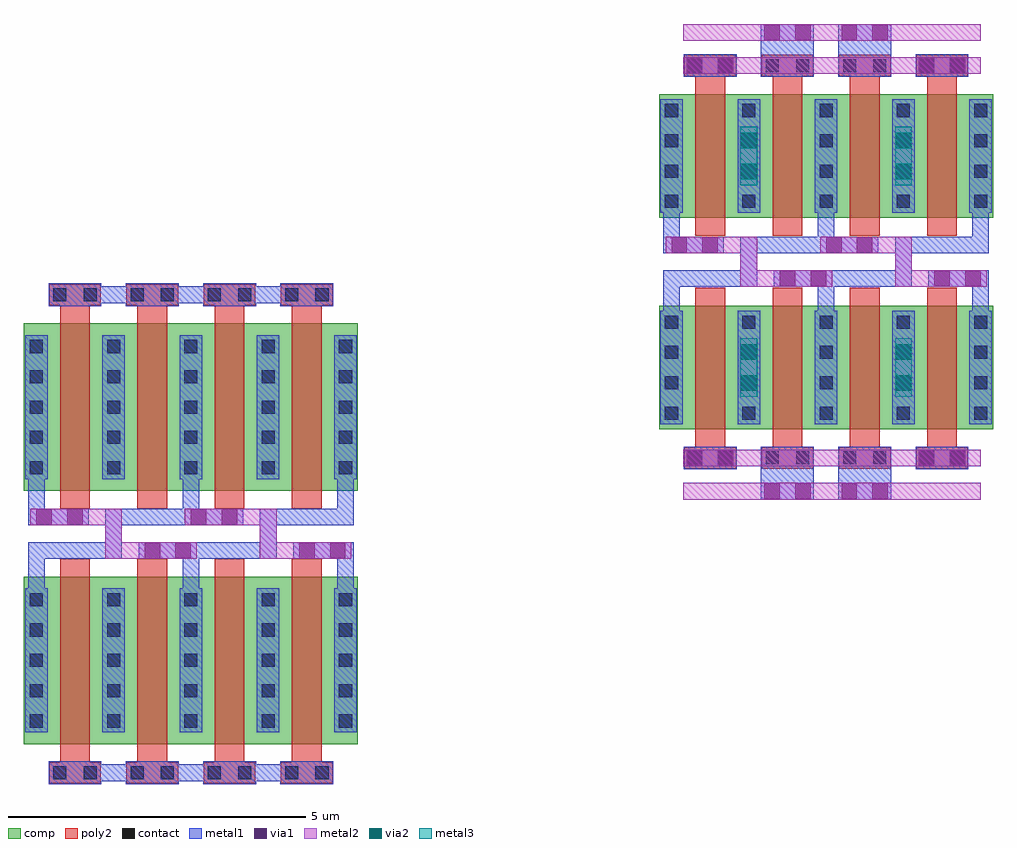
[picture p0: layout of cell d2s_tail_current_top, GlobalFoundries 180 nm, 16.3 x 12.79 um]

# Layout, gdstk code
import gdstk
lib = gdstk.Library(unit=1e-6, precision=5e-09)
def R(c, l, rs):  # rectangles x0, y0, x1, y1
    for r in rs: c.add(gdstk.rectangle(r[:2], r[2:], *l))
def A(c, l, x, y, w, h, nx, ny, dx, dy):  # array of equal rectangles
    R(c, l, [(x+i*dx, y+j*dy, x+i*dx+w, y+j*dy+h) for i in range(nx) for j in range(ny)])
comp = (22, 0)
poly2 = (30, 0)
contact = (33, 0)
metal1 = (34, 0)
via1 = (35, 0)
metal2 = (36, 0)
via2 = (38, 0)
metal3 = (42, 0)

d2s_tail_current_ncell_1 = lib.new_cell('d2s_tail_current_ncell_1$1')
R(d2s_tail_current_ncell_1, comp, [(0,0.3,0.42,3.12), (0.42,0.3,1.3,3.12), (1.3,0.3,1.72,3.12)])
R(d2s_tail_current_ncell_1, poly2, [(0.61,0,1.11,3.42)])
A(d2s_tail_current_ncell_1, contact, 0.1, 0.58, 0.22, 0.22, 1, 5, 0, 0.51)
A(d2s_tail_current_ncell_1, contact, 1.4, 0.58, 0.22, 0.22, 1, 5, 0, 0.51)
R(d2s_tail_current_ncell_1, metal1, [(0.02,0.5,0.4,2.92), (1.32,0.5,1.7,2.92)])

d2s_tail_current_ncell_4 = lib.new_cell('d2s_tail_current_ncell_4')
A(d2s_tail_current_ncell_4, poly2, 0.425, 3.42, 0.87, 0.36, 4, 1, 1.3, 0)
R(d2s_tail_current_ncell_4, contact, [(0.495,3.49,0.715,3.71), (1.005,3.49,1.225,3.71), (1.795,3.49,2.015,3.71), (2.305,3.49,2.525,3.71), (3.095,3.49,3.315,3.71), (3.605,3.49,3.825,3.71), (4.395,3.49,4.615,3.71), (4.905,3.49,5.125,3.71)])
A(d2s_tail_current_ncell_4, metal1, 0.415, 3.41, 0.89, 0.38, 4, 1, 1.3, 0)
d2s_tail_current_ncell_4.add(gdstk.Reference(d2s_tail_current_ncell_1, (0,0)))
d2s_tail_current_ncell_4.add(gdstk.Reference(d2s_tail_current_ncell_1, (1.3,0)))
d2s_tail_current_ncell_4.add(gdstk.Reference(d2s_tail_current_ncell_1, (2.6,0)))
d2s_tail_current_ncell_4.add(gdstk.Reference(d2s_tail_current_ncell_1, (3.9,0)))

delay_stage_ncell_1_1_2 = lib.new_cell('delay_stage_ncell_1$1$2')
R(delay_stage_ncell_1_1_2, comp, [(0,0.3,0.42,2.38), (0.42,0.3,1.3,2.38), (1.3,0.3,1.72,2.38)])
R(delay_stage_ncell_1_1_2, poly2, [(0.61,0,1.11,2.68)])
A(delay_stage_ncell_1_1_2, contact, 0.1, 0.465, 0.22, 0.22, 1, 4, 0, 0.51)
A(delay_stage_ncell_1_1_2, contact, 1.4, 0.465, 0.22, 0.22, 1, 4, 0, 0.51)
R(delay_stage_ncell_1_1_2, metal1, [(0.02,0.385,0.4,2.295), (1.32,0.385,1.7,2.295)])

delay_stage_ncell_4_1 = lib.new_cell('delay_stage_ncell_4$1')
A(delay_stage_ncell_4_1, poly2, 0.425, 2.675, 0.87, 0.36, 4, 1, 1.3, 0)
R(delay_stage_ncell_4_1, contact, [(0.495,2.745,0.715,2.965), (1.005,2.745,1.225,2.965), (1.795,2.745,2.015,2.965), (2.305,2.745,2.525,2.965), (3.095,2.745,3.315,2.965), (3.605,2.745,3.825,2.965), (4.395,2.745,4.615,2.965), (4.905,2.745,5.125,2.965)])
A(delay_stage_ncell_4_1, metal1, 0.415, 2.665, 0.89, 0.38, 4, 1, 1.3, 0)
delay_stage_ncell_4_1.add(gdstk.Reference(delay_stage_ncell_1_1_2, (0,-0.005)))
delay_stage_ncell_4_1.add(gdstk.Reference(delay_stage_ncell_1_1_2, (1.3,-0.005)))
delay_stage_ncell_4_1.add(gdstk.Reference(delay_stage_ncell_1_1_2, (2.6,-0.005)))
delay_stage_ncell_4_1.add(gdstk.Reference(delay_stage_ncell_1_1_2, (3.9,-0.005)))

d2s_tail_current_top = lib.new_cell('d2s_tail_current_top')
R(d2s_tail_current_top, metal1, [(14.44,2.385,15.33,2.895), (15.74,2.385,16.63,2.895), (14.44,9.875,15.33,10.385), (15.74,9.875,16.63,10.385)])
R(d2s_tail_current_top, via1, [(4.07,1.4,4.33,1.66), (4.59,1.4,4.85,1.66), (6.67,1.4,6.93,1.66), (7.19,1.4,7.45,1.66), (2.25,1.96,2.51,2.22), (2.77,1.96,3.03,2.22), (4.85,1.96,5.11,2.22), (5.37,1.96,5.63,2.22), (14.495,2.395,14.755,2.655), (15.015,2.395,15.275,2.655), (15.795,2.395,16.055,2.655), (16.315,2.395,16.575,2.655), (13.195,2.955,13.455,3.215), (13.715,2.955,13.975,3.215), (17.095,2.955,17.355,3.215), (17.615,2.955,17.875,3.215), (14.105,4.215,14.365,4.475), (16.705,4.215,16.965,4.475), (14.105,4.735,14.365,4.995), (16.705,4.735,16.965,4.995), (14.755,5.975,15.015,6.235), (15.275,5.975,15.535,6.235), (17.355,5.975,17.615,6.235), (17.875,5.975,18.135,6.235), (12.935,6.535,13.195,6.795), (13.455,6.535,13.715,6.795), (15.535,6.535,15.795,6.795), (16.055,6.535,16.315,6.795), (14.105,7.775,14.365,8.035), (16.705,7.775,16.965,8.035), (14.105,8.295,14.365,8.555), (16.705,8.295,16.965,8.555), (13.195,9.555,13.455,9.815), (13.715,9.555,13.975,9.815), (17.095,9.555,17.355,9.815), (17.615,9.555,17.875,9.815), (14.495,10.115,14.755,10.375), (15.015,10.115,15.275,10.375), (15.795,10.115,16.055,10.375), (16.315,10.115,16.575,10.375)])
R(d2s_tail_current_top, via2, [(14.105,4.215,14.365,4.475), (16.705,4.215,16.965,4.475), (14.105,4.735,14.365,4.995), (16.705,4.735,16.965,4.995), (14.105,7.775,14.365,8.035), (16.705,7.775,16.965,8.035), (14.105,8.295,14.365,8.555), (16.705,8.295,16.965,8.555)])
d2s_tail_current_top.add(gdstk.FlexPath([(15.535,7.21),(15.535,6.805)], 0.28, ends="flush", simple_path=True, layer=34, datatype=0))  # metal1
d2s_tail_current_top.add(gdstk.FlexPath([(15.535,5.56),(15.535,5.965)], 0.28, ends="flush", simple_path=True, layer=34, datatype=0))  # metal1
d2s_tail_current_top.add(gdstk.FlexPath([(12.935,5.56),(12.935,5.965)], 0.28, ends="flush", simple_path=True, layer=34, datatype=0))  # metal1
d2s_tail_current_top.add(gdstk.FlexPath([(12.935,7.21),(12.935,6.805)], 0.28, ends="flush", simple_path=True, layer=34, datatype=0))  # metal1
d2s_tail_current_top.add(gdstk.FlexPath([(15.635,6.665),(14.235,6.665),(14.235,6.105),(12.795,6.105)], 0.28, ends="flush", simple_path=True, layer=34, datatype=0))  # metal1
d2s_tail_current_top.add(gdstk.FlexPath([(13.815,6.665),(12.795,6.665)], 0.28, ends="flush", simple_path=True, layer=34, datatype=0))  # metal1
d2s_tail_current_top.add(gdstk.FlexPath([(18.135,5.56),(18.135,5.965)], 0.28, ends="flush", simple_path=True, layer=34, datatype=0))  # metal1
d2s_tail_current_top.add(gdstk.FlexPath([(18.275,6.665),(16.835,6.665),(16.835,6.105),(15.435,6.105)], 0.28, ends="flush", simple_path=True, layer=34, datatype=0))  # metal1
d2s_tail_current_top.add(gdstk.FlexPath([(16.415,6.665),(15.435,6.665)], 0.28, ends="flush", simple_path=True, layer=34, datatype=0))  # metal1
d2s_tail_current_top.add(gdstk.FlexPath([(18.135,7.21),(18.135,6.805)], 0.28, ends="flush", simple_path=True, layer=34, datatype=0))  # metal1
d2s_tail_current_top.add(gdstk.FlexPath([(15.535,5.56),(15.535,5.965)], 0.28, ends="flush", simple_path=True, layer=34, datatype=0))  # metal1
d2s_tail_current_top.add(gdstk.FlexPath([(18.275,6.105),(17.255,6.105)], 0.28, ends="flush", simple_path=True, layer=34, datatype=0))  # metal1
d2s_tail_current_top.add(gdstk.FlexPath([(15.535,7.21),(15.535,6.805)], 0.28, ends="flush", simple_path=True, layer=34, datatype=0))  # metal1
d2s_tail_current_top.add(gdstk.FlexPath([(15.635,6.105),(14.655,6.105)], 0.28, ends="flush", simple_path=True, layer=34, datatype=0))  # metal1
d2s_tail_current_top.add(gdstk.FlexPath([(4.85,2.73),(4.85,2.23)], 0.28, ends="flush", simple_path=True, layer=34, datatype=0))  # metal1
d2s_tail_current_top.add(gdstk.FlexPath([(4.85,0.89),(4.85,1.39)], 0.28, ends="flush", simple_path=True, layer=34, datatype=0))  # metal1
d2s_tail_current_top.add(gdstk.FlexPath([(2.25,0.89),(2.25,1.39)], 0.28, ends="flush", simple_path=True, layer=34, datatype=0))  # metal1
d2s_tail_current_top.add(gdstk.FlexPath([(2.25,2.73),(2.25,2.23)], 0.28, ends="flush", simple_path=True, layer=34, datatype=0))  # metal1
d2s_tail_current_top.add(gdstk.FlexPath([(4.95,2.09),(3.55,2.09),(3.55,1.53),(2.11,1.53)], 0.28, ends="flush", simple_path=True, layer=34, datatype=0))  # metal1
d2s_tail_current_top.add(gdstk.FlexPath([(3.13,2.09),(2.11,2.09)], 0.28, ends="flush", simple_path=True, layer=34, datatype=0))  # metal1
d2s_tail_current_top.add(gdstk.FlexPath([(7.45,0.89),(7.45,1.39)], 0.28, ends="flush", simple_path=True, layer=34, datatype=0))  # metal1
d2s_tail_current_top.add(gdstk.FlexPath([(7.59,2.09),(6.15,2.09),(6.15,1.53),(4.75,1.53)], 0.28, ends="flush", simple_path=True, layer=34, datatype=0))  # metal1
d2s_tail_current_top.add(gdstk.FlexPath([(5.73,2.09),(4.75,2.09)], 0.28, ends="flush", simple_path=True, layer=34, datatype=0))  # metal1
d2s_tail_current_top.add(gdstk.FlexPath([(7.45,2.73),(7.45,2.23)], 0.28, ends="flush", simple_path=True, layer=34, datatype=0))  # metal1
d2s_tail_current_top.add(gdstk.FlexPath([(4.85,0.89),(4.85,1.39)], 0.28, ends="flush", simple_path=True, layer=34, datatype=0))  # metal1
d2s_tail_current_top.add(gdstk.FlexPath([(7.59,1.53),(6.57,1.53)], 0.28, ends="flush", simple_path=True, layer=34, datatype=0))  # metal1
d2s_tail_current_top.add(gdstk.FlexPath([(4.85,2.73),(4.85,2.23)], 0.28, ends="flush", simple_path=True, layer=34, datatype=0))  # metal1
d2s_tail_current_top.add(gdstk.FlexPath([(4.95,1.53),(3.97,1.53)], 0.28, ends="flush", simple_path=True, layer=34, datatype=0))  # metal1
d2s_tail_current_top.add(gdstk.FlexPath([(3.345,5.83),(6.355,5.83)], 0.28, ends="flush", simple_path=True, layer=34, datatype=0))  # metal1
d2s_tail_current_top.add(gdstk.FlexPath([(3.345,-2.21),(6.355,-2.21)], 0.28, ends="flush", simple_path=True, layer=34, datatype=0))  # metal1
d2s_tail_current_top.add(gdstk.FlexPath([(18.135,9.685),(13.13,9.685)], 0.28, ends="flush", simple_path=True, layer=36, datatype=0))  # metal2
d2s_tail_current_top.add(gdstk.FlexPath([(18.135,10.245),(13.13,10.245)], 0.28, ends="flush", simple_path=True, layer=36, datatype=0))  # metal2
d2s_tail_current_top.add(gdstk.FlexPath([(18.135,3.085),(13.13,3.085)], 0.28, ends="flush", simple_path=True, layer=36, datatype=0))  # metal2
d2s_tail_current_top.add(gdstk.FlexPath([(18.135,2.525),(13.13,2.525)], 0.28, ends="flush", simple_path=True, layer=36, datatype=0))  # metal2
d2s_tail_current_top.add(gdstk.FlexPath([(16.835,7.675),(16.835,8.655)], 0.28, ends="flush", simple_path=True, layer=36, datatype=0))  # metal2
d2s_tail_current_top.add(gdstk.FlexPath([(14.235,7.675),(14.235,8.655)], 0.28, ends="flush", simple_path=True, layer=36, datatype=0))  # metal2
d2s_tail_current_top.add(gdstk.FlexPath([(16.835,4.115),(16.835,5.095)], 0.28, ends="flush", simple_path=True, layer=36, datatype=0))  # metal2
d2s_tail_current_top.add(gdstk.FlexPath([(14.235,4.115),(14.235,5.095)], 0.28, ends="flush", simple_path=True, layer=36, datatype=0))  # metal2
d2s_tail_current_top.add(gdstk.FlexPath([(15.635,6.105),(14.235,6.105),(14.235,6.665),(12.835,6.665)], 0.28, ends="flush", simple_path=True, layer=36, datatype=0))  # metal2
d2s_tail_current_top.add(gdstk.FlexPath([(18.235,6.105),(16.835,6.105),(16.835,6.665),(15.435,6.665)], 0.28, ends="flush", simple_path=True, layer=36, datatype=0))  # metal2
d2s_tail_current_top.add(gdstk.FlexPath([(4.95,1.53),(3.55,1.53),(3.55,2.09),(2.15,2.09)], 0.28, ends="flush", simple_path=True, layer=36, datatype=0))  # metal2
d2s_tail_current_top.add(gdstk.FlexPath([(7.55,1.53),(6.15,1.53),(6.15,2.09),(4.75,2.09)], 0.28, ends="flush", simple_path=True, layer=36, datatype=0))  # metal2
d2s_tail_current_top.add(gdstk.FlexPath([(16.835,7.675),(16.835,8.655)], 0.28, ends="flush", simple_path=True, layer=42, datatype=0))  # metal3
d2s_tail_current_top.add(gdstk.FlexPath([(14.235,7.675),(14.235,8.655)], 0.28, ends="flush", simple_path=True, layer=42, datatype=0))  # metal3
d2s_tail_current_top.add(gdstk.FlexPath([(16.835,4.115),(16.835,5.095)], 0.28, ends="flush", simple_path=True, layer=42, datatype=0))  # metal3
d2s_tail_current_top.add(gdstk.FlexPath([(14.235,4.115),(14.235,5.095)], 0.28, ends="flush", simple_path=True, layer=42, datatype=0))  # metal3
d2s_tail_current_top.add(gdstk.Reference(d2s_tail_current_ncell_4, (2.04,2.23)))
d2s_tail_current_top.add(gdstk.Reference(d2s_tail_current_ncell_4, (2.04,1.39), x_reflection=True))
d2s_tail_current_top.add(gdstk.Reference(delay_stage_ncell_4_1, (12.725,6.83)))
d2s_tail_current_top.add(gdstk.Reference(delay_stage_ncell_4_1, (12.725,5.94), x_reflection=True))

lib.write_gds('d2s_tail_current_top.gds')
